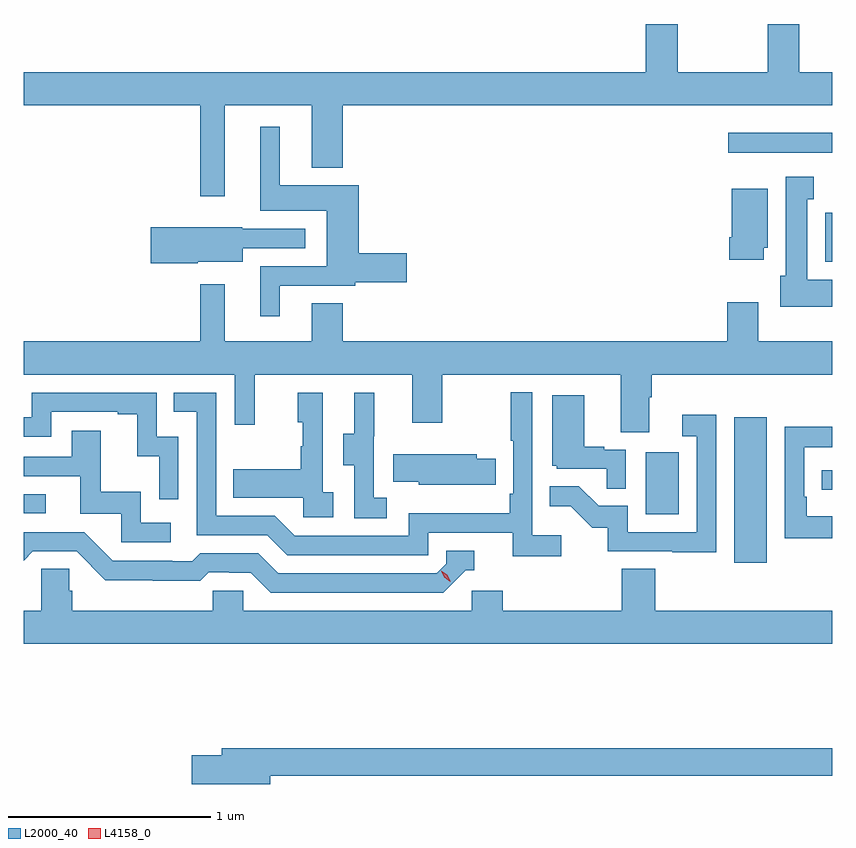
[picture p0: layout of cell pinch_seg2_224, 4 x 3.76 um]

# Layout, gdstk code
import gdstk
lib = gdstk.Library(unit=1e-6, precision=1e-09)
def R(c, l, rs):  # rectangles x0, y0, x1, y1
    for r in rs: c.add(gdstk.rectangle(r[:2], r[2:], *l))
def P(c, l, *ps):  # polygons
    for p in ps: c.add(gdstk.Polygon(p, *l))
L2000_40 = (2000, 40)
L4158_0 = (4158, 0)

pinch_seg2_224 = lib.new_cell('pinch_seg2_224')
R(pinch_seg2_224, L2000_40, [(988.532,650.7,988.693,651.421), (988.094,650.94,988.258,651.247), (985.017,650.946,985.126,651.039), (988.965,651.063,989.017,651.159), (988.982,652.19,989.017,652.432), (988.503,652.731,989.017,652.828)])
P(pinch_seg2_224, L2000_40, [(986.011,652.964),(986.441,652.964),(986.441,652.655),(986.594,652.655),(986.594,652.964),(989.017,652.964),(989.017,653.128),(988.854,653.128),(988.854,653.367),(988.699,653.367),(988.699,653.128),(988.254,653.128),(988.254,653.367),(988.094,653.367),(988.094,653.128),(985.017,653.128),(985.017,652.964),(985.89,652.964),(985.89,652.515),(986.011,652.515)],
  [(986.284,652.071),(986.658,652.071),(986.658,652.09),(986.911,652.09),(986.911,652.232),(986.675,652.232),(986.675,652.57),(986.284,652.57),(986.284,652.858),(986.186,652.858),(986.186,652.442),(986.516,652.442),(986.516,652.167),(986.186,652.167),(986.186,651.921),(986.284,651.921)],
  [(989.017,652.102),(988.894,652.102),(988.894,652.499),(988.927,652.499),(988.927,652.612),(988.787,652.612),(988.787,652.122),(988.76,652.122),(988.76,651.968),(989.017,651.968)],
  [(988.678,652.26),(988.699,652.26),(988.699,652.552),(988.52,652.552),(988.52,652.312),(988.508,652.312),(988.508,652.2),(988.678,652.2)],
  [(985.878,652.19),(986.101,652.19),(986.101,652.257),(986.41,652.257),(986.41,652.353),(986.097,652.353),(986.097,652.361),(985.644,652.361),(985.644,652.183),(985.878,652.183)],
  [(988.111,651.52),(988.124,651.52),(988.124,651.632),(989.017,651.632),(989.017,651.796),(988.651,651.796),(988.651,651.991),(988.499,651.991),(988.499,651.796),(986.594,651.796),(986.594,651.986),(986.441,651.986),(986.441,651.796),(986.011,651.796),(986.011,652.078),(985.89,652.078),(985.89,651.796),(985.017,651.796),(985.017,651.632),(986.061,651.632),(986.061,651.384),(986.159,651.384),(986.159,651.632),(986.939,651.632),(986.939,651.393),(987.087,651.393),(987.087,651.632),(987.971,651.632),(987.971,651.346),(988.111,651.346)],
  [(987.676,650.836),(987.534,650.836),(987.534,651.544),(987.426,651.544),(987.426,651.304),(987.438,651.304),(987.438,651.043),(987.421,651.043),(987.421,650.947),(986.922,650.947),(986.922,650.835),(986.358,650.835),(986.259,650.934),(985.968,650.934),(985.968,651.543),(985.759,651.543),(985.759,651.447),(985.872,651.447),(985.872,650.838),(986.222,650.838),(986.321,650.739),(987.018,650.739),(987.018,650.85),(987.437,650.85),(987.437,650.734),(987.676,650.734)],
  [(985.782,651.324),(985.674,651.324),(985.674,651.543),(985.056,651.543),(985.056,651.42),(985.017,651.42),(985.017,651.324),(985.152,651.324),(985.152,651.447),(985.481,651.447),(985.481,651.435),(985.577,651.435),(985.577,651.227),(985.686,651.227),(985.686,651.015),(985.782,651.015)],
  [(986.548,651.05),(986.496,651.05),(986.496,651.541),(986.372,651.541),(986.372,651.396),(986.398,651.396),(986.398,651.278),(986.388,651.278),(986.388,651.163),(986.053,651.163),(986.053,651.023),(986.4,651.023),(986.4,650.925),(986.548,650.925)],
  [(986.812,651.023),(986.748,651.023),(986.748,651.327),(986.75,651.327),(986.75,651.541),(986.651,651.541),(986.651,651.339),(986.597,651.339),(986.597,651.184),(986.652,651.184),(986.652,650.92),(986.812,650.92)],
  [(987.996,651.261),(987.89,651.261),(987.89,651.274),(987.79,651.274),(987.79,651.529),(987.632,651.529),(987.632,651.18),(987.654,651.18),(987.654,651.165),(987.901,651.165),(987.901,651.067),(987.996,651.067)],
  [(988.443,651.433),(988.275,651.433),(988.275,651.327),(988.347,651.327),(988.347,650.853),(988.005,650.853),(988.005,650.982),(987.861,650.982),(987.763,651.08),(987.619,651.08),(987.619,650.981),(987.723,650.981),(987.83,650.874),(987.907,650.874),(987.907,650.757),(988.225,650.757),(988.225,650.752),(988.443,650.752)],
  [(989.017,650.932),(988.892,650.932),(988.892,651.028),(988.878,651.028),(988.878,651.273),(989.017,651.273),(989.017,651.374),(988.782,651.374),(988.782,650.823),(989.017,650.823)],
  [(985.744,650.898),(985.596,650.898),(985.596,651.052),(985.397,651.052),(985.397,651.355),(985.253,651.355),(985.253,651.225),(985.017,651.225),(985.017,651.129),(985.295,651.129),(985.295,650.943),(985.5,650.943),(985.5,650.802),(985.744,650.802)],
  [(987.242,651.087),(987.353,651.087),(987.353,651.216),(987.259,651.216),(987.259,651.238),(986.845,651.238),(986.845,651.101),(986.97,651.101),(986.97,651.086),(987.242,651.086)],
  [(987.204,650.664),(987.247,650.664),(987.247,650.76),(987.108,650.76),(987.108,650.697),(987.06,650.649),(986.277,650.649),(986.178,650.748),(985.889,650.748),(985.85,650.709),(985.751,650.709),(985.751,650.712),(985.458,650.712),(985.317,650.853),(985.017,650.853),(985.017,650.712),(985.062,650.757),(985.278,650.757),(985.42,650.615),(985.656,650.615),(985.656,650.613),(985.889,650.613),(985.931,650.655),(986.034,650.655),(986.034,650.652),(986.141,650.652),(986.24,650.553),(987.093,650.553)],
  [(989.017,650.464),(988.142,650.464),(988.142,650.672),(987.977,650.672),(987.977,650.464),(987.386,650.464),(987.386,650.562),(987.234,650.562),(987.234,650.464),(986.103,650.464),(986.103,650.562),(985.953,650.562),(985.953,650.464),(985.256,650.464),(985.256,650.562),(985.241,650.562),(985.241,650.672),(985.104,650.672),(985.104,650.464),(985.017,650.464),(985.017,650.3),(989.017,650.3)],
  [(986.236,649.648),(989.017,649.648),(989.017,649.784),(985.997,649.784),(985.997,649.748),(985.848,649.748),(985.848,649.606),(986.236,649.606)])
P(pinch_seg2_224, L4158_0, [(987.128,650.608),(987.098,650.628),(987.082,650.661),(987.082,650.661),(987.082,650.661),(987.112,650.641),(987.128,650.609),(987.128,650.608)])

lib.write_gds('pinch_seg2_224.gds')
